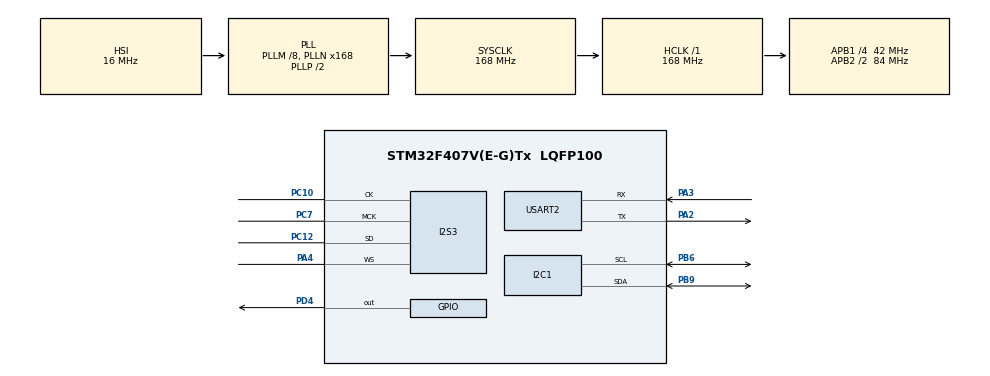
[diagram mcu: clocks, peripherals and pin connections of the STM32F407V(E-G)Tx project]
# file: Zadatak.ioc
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I2S3.AudioFreq=I2S_AUDIOFREQ_48K
I2S3.ErrorAudioFreq=-2.34 %
I2S3.FullDuplexMode=I2S_FULLDUPLEXMODE_DISABLE
I2S3.Instance=SPI$Index
I2S3.RealAudioFreq=46.875 KHz
I2S3.VirtualMode=I2S_MODE_MASTER
Mcu.Family=STM32F4
Mcu.Name=STM32F407V(E-G)Tx
Mcu.Package=LQFP100
NVIC.PriorityGroup=NVIC_PRIORITYGROUP_4
NVIC.USART2_IRQn=true\:0\:0\:false\:false\:true\:true\:true
PA2.Mode=Asynchronous
PA2.Signal=USART2_TX
PA3.Mode=Asynchronous
PA3.Signal=USART2_RX
PA4.Mode=Half_Duplex_Master
PA4.Signal=I2S3_WS
PB6.Mode=I2C
PB6.Signal=I2C1_SCL
PB9.Mode=I2C
PB9.Signal=I2C1_SDA
PC10.Mode=Half_Duplex_Master
PC10.Signal=I2S3_CK
PC12.Mode=Half_Duplex_Master
PC12.Signal=I2S3_SD
PC14-OSC32_IN.Mode=LSE-External-Oscillator
PC14-OSC32_IN.Signal=RCC_OSC32_IN
PC15-OSC32_OUT.Mode=LSE-External-Oscillator
PC15-OSC32_OUT.Signal=RCC_OSC32_OUT
PC7.Mode=Master_Clock_Activated
PC7.Signal=I2S3_MCK
PD4.GPIO_PuPd=GPIO_PULLDOWN
PD4.Signal=GPIO_Output
PH0-OSC_IN.Mode=HSE-External-Oscillator
PH0-OSC_IN.Signal=RCC_OSC_IN
PH1-OSC_OUT.Mode=HSE-External-Oscillator
PH1-OSC_OUT.Signal=RCC_OSC_OUT
ProjectManager.HeapSize=0x200
ProjectManager.StackSize=0x400
ProjectManager.TargetToolchain=STM32CubeIDE
RCC.48MHZClocksFreq_Value=84000000
RCC.AHBFreq_Value=168000000
RCC.APB1CLKDivider=RCC_HCLK_DIV4
RCC.APB1Freq_Value=42000000
RCC.APB1TimFreq_Value=84000000
RCC.APB2CLKDivider=RCC_HCLK_DIV2
RCC.APB2Freq_Value=84000000
RCC.APB2TimFreq_Value=168000000
RCC.CortexFreq_Value=168000000
RCC.HCLKFreq_Value=168000000
RCC.HSE_VALUE=8000000
RCC.HSI_VALUE=16000000
RCC.PLLM=8
RCC.PLLN=168
RCC.SYSCLKFreq_VALUE=168000000
RCC.SYSCLKSource=RCC_SYSCLKSOURCE_PLLCLK
RCC.VCOOutputFreq_Value=336000000
USART2.VirtualMode=VM_ASYNC
board=custom

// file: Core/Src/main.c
/* USER CODE BEGIN Header */
/**
  ******************************************************************************
  * @file           : main.c
  * @brief          : Main program body
  ******************************************************************************
  * @attention
  *
  * Copyright (c) 2021 STMicroelectronics.
  * All rights reserved.
  *
  * This software is licensed under terms that can be found in the LICENSE file
  * in the root directory of this software component.
  * If no LICENSE file comes with this software, it is provided AS-IS.
  *
  ******************************************************************************
  */
/* USER CODE END Header */
#include "main.h"
#include "i2c.h"
#include "i2s.h"
#include "usart.h"
#include "gpio.h"

/* USER CODE BEGIN Includes */
# include <stdlib.h>
# include "audio.h"
#include <time.h>
#include <string.h>
/* USER CODE END Includes */

/* USER CODE BEGIN PD */
#define TonC 364
#define TonCs 344
#define TonD 324
#define TonDs 306
#define TonE 289
#define TonF 273
#define TonFs 258
#define TonG 243
#define TonGs 230
#define TonA 217
#define TonAs 205
#define TonH 193

#define LOOPNUM 1000
/* USER CODE END PD */

/* USER CODE BEGIN PV */
char RX_BUFFER [ BUFSIZE ];
int RX_BUFFER_HEAD , RX_BUFFER_TAIL ;
uint8_t rx_data ;
const char *keys = "awsedftgzhuj";

uint16_t poljeC[TonC] = {1024, 1042, 1059, 1077, 1095, 1113, 1130, 1148, 1165, 1183, 1200, 1218, 1235, 1252, 1270, 1287, 1304, 1321, 1338, 1355, 1371, 1388, 1405, 1421, 1437, 1453, 1469, 1485, 1501, 1517, 1532, 1547, 1563, 1578, 1592, 1607, 1622, 1636, 1650, 1664, 1678, 1691, 1705, 1718, 1731, 1743, 1756, 1768, 1780, 1792, 1804, 1815, 1826, 1837, 1848, 1858, 1868, 1878, 1888, 1897, 1906, 1915, 1924, 1932, 1940, 1948, 1955, 1963, 1970, 1976, 1983, 1989, 1995, 2000, 2005, 2010, 2015, 2019, 2023, 2027, 2030, 2033, 2036, 2039, 2041, 2043, 2045, 2046, 2047, 2048, 2048, 2048, 2048, 2047, 2046, 2045, 2044, 2042, 2040, 2038, 2035, 2032, 2029, 2025, 2021, 2017, 2013, 2008, 2003, 1997, 1992, 1986, 1980, 1973, 1966, 1959, 1952, 1944, 1936, 1928, 1920, 1911, 1902, 1893, 1883, 1873, 1863, 1853, 1842, 1832, 1821, 1809, 1798, 1786, 1774, 1762, 1750, 1737, 1724, 1711, 1698, 1684, 1671, 1657, 1643, 1629, 1614, 1600, 1585, 1570, 1555, 1540, 1524, 1509, 1493, 1477, 1461, 1445, 1429, 1413, 1396, 1380, 1363, 1346, 1329, 1312, 1295, 1278, 1261, 1244, 1226, 1209, 1192, 1174, 1157, 1139, 1121, 1104, 1086, 1068, 1051, 1033, 1015, 997, 980, 962, 944, 927, 909, 891, 874, 856, 839, 822, 804, 787, 770, 753, 736, 719,702, 685, 668, 652, 635, 619, 603, 587, 571, 555, 539, 524, 508, 493, 478, 463, 448, 434, 419, 405, 391, 377, 364, 350, 337, 324, 311, 298, 286, 274, 262, 250, 239, 227, 216, 206, 195, 185, 175, 165, 155, 146, 137, 128, 120, 112, 104, 96, 89, 82, 75, 68, 62, 56, 51, 45, 40, 35, 31, 27, 23, 19, 16, 13, 10, 8, 6, 4, 3, 2, 1, 0, 0, 0, 0, 1, 2, 3, 5, 7, 9, 12, 15, 18, 21, 25, 29, 33, 38, 43, 48, 53, 59, 65, 72, 78, 85, 93, 100, 108, 116, 124, 133, 142, 151, 160, 170, 180, 190, 200, 211, 222, 233, 244, 256, 268, 280, 292, 305, 317, 330, 343, 357, 370, 384, 398, 412, 426, 441, 456, 470, 485, 501, 516, 531, 547, 563, 579, 595, 611, 627, 643, 660, 677, 693, 710, 727, 744, 761, 778, 796, 813, 830, 848, 865, 883, 900, 918, 935, 953, 971, 989, 1006, 1024};
uint16_t poljeCs[TonCs] = {1024, 1043, 1062, 1080, 1099, 1118, 1136, 1155, 1174, 1192, 1211, 1229, 1247, 1266, 1284, 1302, 1320, 1338, 1356, 1373, 1391, 1408, 1426, 1443, 1460, 1477, 1493, 1510, 1526, 1543, 1559, 1575, 1590, 1606, 1621, 1636, 1651, 1666, 1681, 1695, 1709, 1723, 1736, 1750, 1763, 1776, 1788, 1801, 1813, 1825, 1836, 1847, 1858, 1869, 1880, 1890, 1900, 1909, 1919, 1928, 1936, 1945, 1953, 1960, 1968, 1975, 1982, 1988, 1994, 2000, 2006, 2011, 2016, 2020, 2024, 2028, 2032, 2035, 2038, 2040, 2042, 2044, 2046, 2047, 2047, 2048, 2048, 2048, 2047, 2046, 2045, 2043, 2041, 2039, 2036, 2033, 2030, 2026, 2022, 2018, 2013, 2008, 2003, 1997, 1991, 1985, 1978, 1971, 1964, 1957, 1949, 1940, 1932, 1923, 1914, 1904, 1895, 1885, 1874, 1864, 1853, 1842, 1830, 1819, 1807, 1795, 1782, 1769, 1756, 1743, 1730, 1716, 1702, 1688, 1673, 1659, 1644, 1629, 1614, 1598, 1583, 1567, 1551, 1535, 1518, 1502, 1485, 1468, 1451, 1434, 1417, 1400, 1382, 1364, 1347, 1329, 1311, 1293, 1275, 1256, 1238, 1220, 1201, 1183, 1164, 1146, 1127, 1108, 1090, 1071, 1052, 1033, 1015, 996, 977, 958, 940, 921, 902, 884, 865, 847, 828, 810, 792, 773, 755, 737, 719, 701, 684, 666, 648, 631, 614, 597, 580, 563, 546, 530, 513, 497, 481, 465, 450, 434, 419, 404, 389, 375, 360, 346, 332, 318, 305, 292, 279, 266, 253, 241, 229, 218, 206, 195, 184, 174, 163, 153, 144, 134, 125, 116, 108, 99, 91, 84, 77, 70, 63, 57, 51, 45, 40, 35, 30, 26, 22, 18, 15, 12, 9, 7, 5, 3, 2, 1, 0, 0, 0, 1, 1,
		2, 4, 6, 8, 10, 13, 16, 20, 24, 28, 32, 37, 42, 48, 54, 60, 66, 73, 80, 88, 95, 103, 112, 120, 129, 139, 148, 158, 168, 179, 190, 201, 212, 223, 235, 247, 260,
		272, 285, 298, 312, 325, 339, 353, 367, 382, 397, 412, 427, 442, 458, 473, 489, 505, 522, 538, 555, 571, 588, 605, 622, 640, 657, 675, 692, 710, 728, 746, 764,
		782, 801, 819, 837, 856, 874, 893, 912, 930, 949, 968, 986, 1005, 1024};
uint16_t poljeD[TonD] = {1024, 1044, 1064, 1084, 1104, 1123, 1143, 1163, 1183, 1202, 1222, 1241, 1261, 1280, 1299, 1319, 1338, 1356, 1375, 1394, 1412, 1431, 1449, 1467, 1485, 1503, 1520, 1537, 1555, 1572, 1588, 1605, 1621, 1637, 1653, 1669, 1684, 1699, 1714, 1728, 1743, 1757, 1771, 1784, 1797, 1810, 1823, 1835, 1847, 1859, 1870, 1881, 1892, 1902, 1912, 1922, 1932, 1941, 1949, 1958, 1966, 1973, 1981, 1988, 1994, 2000, 2006, 2012, 2017, 2021, 2026, 2030, 2033, 2036, 2039, 2042, 2044, 2045, 2047, 2047, 2048, 2048, 2048, 2047, 2046, 2045, 2043, 2040, 2038, 2035, 2031, 2028, 2024, 2019, 2014, 2009, 2003, 1997, 1991, 1984, 1977, 1970, 1962, 1954, 1945, 1936, 1927, 1917, 1907, 1897, 1887, 1876, 1865, 1853, 1841, 1829, 1817, 1804, 1791, 1777, 1764, 1750, 1736, 1721, 1706, 1691, 1676, 1661, 1645, 1629, 1613, 1597, 1580, 1563, 1546, 1529, 1511, 1494, 1476, 1458, 1440, 1422, 1403, 1385, 1366, 1347, 1328, 1309, 1290, 1271, 1251, 1232, 1212, 1193, 1173, 1153, 1133, 1114, 1094, 1074, 1054, 1034, 1014, 994, 974, 954, 934, 915, 895, 875, 855, 836, 816, 797, 777, 758, 739, 720, 701, 682, 663, 645, 626, 608, 590, 572, 554, 537, 519, 502, 485, 468, 451, 435, 419, 403, 387, 372, 357, 342, 327, 312, 298, 284, 271, 257, 244, 231, 219, 207, 195, 183, 172, 161, 151, 141, 131, 121, 112, 103, 94, 86, 78, 71,
		64, 57, 51, 45, 39, 34, 29, 24, 20, 17, 13, 10, 8, 5, 3, 2, 1, 0, 0, 0, 1, 1, 3, 4, 6, 9, 12, 15, 18, 22, 27, 31, 36, 42, 48, 54, 60, 67, 75, 82, 90, 99, 107, 116, 126, 136, 146, 156, 167, 178, 189, 201, 213, 225, 238, 251, 264, 277, 291, 305, 320, 334, 349, 364, 379, 395, 411, 427, 443, 460, 476, 493, 511, 528, 545, 563, 581, 599, 617, 636, 654, 673, 692, 710, 729, 749, 768, 787, 807, 826, 846, 865, 885, 905, 925, 944, 964, 984, 1004, 1024};
uint16_t poljeDs[TonDs] = {1024, 1045, 1066, 1087, 1108, 1129, 1150, 1171, 1192, 1213, 1233, 1254, 1275, 1295, 1315, 1335, 1355, 1375, 1395, 1415, 1434, 1453, 1472, 1491, 1510, 1528, 1547, 1565, 1582, 1600, 1617, 1634, 1651, 1668, 1684, 1700, 1716, 1731, 1746, 1761, 1775, 1790, 1804, 1817, 1830, 1843, 1856, 1868, 1879, 1891, 1902, 1913, 1923, 1933, 1942, 1951, 1960, 1969, 1976, 1984, 1991, 1998, 2004, 2010, 2016, 2021, 2025, 2029, 2033, 2037, 2040, 2042, 2044, 2046, 2047, 2048, 2048, 2048, 2047, 2046, 2045, 2043, 2041, 2038, 2035, 2031, 2027, 2023, 2018, 2013, 2007, 2001, 1995, 1988, 1980, 1973, 1964, 1956, 1947, 1938, 1928, 1918, 1907, 1896, 1885, 1874, 1862, 1849, 1837, 1824, 1810, 1797, 1783, 1768, 1754, 1739, 1723, 1708, 1692, 1676, 1660, 1643, 1626, 1609, 1591, 1574, 1556, 1538, 1519, 1501, 1482, 1463, 1444, 1424, 1405, 1385, 1365, 1345, 1325, 1305, 1285, 1264, 1244, 1223, 1202, 1182, 1161, 1140, 1119, 1098, 1077, 1056, 1035, 1013, 992, 971, 950, 929, 908, 887, 866,
		846, 825, 804, 784, 763, 743, 723, 703, 683, 663, 643, 624, 604, 585, 566, 547, 529, 510, 492, 474, 457, 439, 422, 405, 388, 372, 356, 340, 325, 309, 294, 280,
		265, 251, 238, 224, 211, 199, 186, 174, 163, 152, 141, 130, 120, 110, 101, 92, 84, 75, 68, 60, 53, 47, 41, 35, 30, 25, 21, 17, 13, 10, 7, 5, 3, 2, 1, 0, 0, 0, 1, 2, 4, 6, 8, 11, 15, 19, 23, 27, 32, 38, 44, 50, 57, 64, 72, 79, 88, 97, 106, 115, 125, 135, 146, 157, 169, 180, 192, 205, 218, 231, 244, 258, 273, 287, 302, 317, 332, 348, 364, 380, 397, 414, 431, 448, 466, 483, 501, 520, 538, 557, 576, 595, 614, 633, 653, 673, 693, 713, 733, 753, 773, 794, 815, 835, 856, 877, 898, 919, 940, 961, 982, 1003, 1024};
uint16_t poljeE[TonE] = {1024, 1046, 1069, 1091, 1113, 1135, 1158, 1180, 1202, 1224, 1246, 1267, 1289, 1311, 1332, 1353, 1374, 1395, 1416, 1436, 1457, 1477, 1497, 1517, 1536, 1555, 1574, 1593, 1611, 1630, 1647, 1665, 1682, 1699, 1716, 1732, 1748, 1764, 1779, 1794, 1808, 1823, 1836, 1850, 1863, 1875, 1888, 1899, 1911, 1922, 1932, 1942, 1952, 1961, 1970, 1978, 1986, 1994, 2001, 2007, 2013, 2019, 2024, 2028, 2032, 2036, 2039, 2042, 2044, 2046, 2047, 2048, 2048, 2048, 2047, 2046, 2044, 2042, 2039, 2036, 2032, 2028, 2024, 2019, 2013, 2007, 2001, 1994, 1986, 1978, 1970, 1961, 1952, 1942, 1932, 1922, 1911, 1899, 1888, 1875, 1863, 1850, 1836, 1823, 1808, 1794, 1779, 1764, 1748, 1732, 1716, 1699, 1682, 1665, 1647, 1630, 1611, 1593, 1574, 1555, 1536, 1517, 1497, 1477, 1457, 1436, 1416, 1395, 1374, 1353, 1332, 1311, 1289, 1267, 1246, 1224, 1202, 1180, 1158, 1135, 1113, 1091, 1069, 1046, 1024, 1002, 979, 957, 935, 913, 890, 868, 846, 824, 802, 781, 759, 737, 716, 695, 674, 653, 632, 612, 591, 571, 551, 531, 512, 493, 474, 455, 437, 418, 401, 383, 366, 349, 332, 316, 300, 284, 269, 254, 240, 225, 212, 198, 185, 173, 160, 149, 137, 126, 116, 106, 96, 87, 78, 70, 62, 54, 47, 41, 35, 29, 24, 20, 16, 12, 9, 6, 4, 2, 1, 0, 0, 0, 1, 2, 4, 6, 9, 12, 16, 20, 24, 29, 35, 41, 47, 54, 62, 70, 78, 87, 96, 106, 116, 126, 137, 149, 160, 173, 185, 198, 212, 225, 240, 254, 269, 284, 300, 316, 332, 349, 366, 383, 401, 418, 437, 455, 474, 493, 512, 531, 551, 571, 591, 612, 632, 653, 674, 695, 716, 737, 759, 781, 802, 824, 846, 868, 890, 913, 935, 957, 979, 1002, 1024};
uint16_t poljeF[TonF] = {1024, 1048, 1071, 1095, 1118, 1142, 1165, 1189, 1212, 1235, 1258, 1281, 1304, 1327, 1349, 1372, 1394, 1416, 1438, 1459, 1480, 1501, 1522, 1543, 1563, 1583, 1603, 1622, 1641, 1660, 1678, 1696, 1714, 1731, 1748, 1765, 1781, 1796, 1812, 1827, 1841, 1855, 1869, 1882, 1895, 1907, 1919, 1930, 1941, 1951, 1961, 1970, 1979, 1987, 1995, 2002, 2009, 2015, 2021, 2026, 2031, 2035, 2038, 2041, 2044, 2046, 2047, 2048, 2048, 2048, 2047, 2046, 2044, 2041, 2038, 2035, 2031, 2026, 2021, 2015, 2009, 2002, 1995, 1987, 1979, 1970, 1961, 1951, 1941, 1930, 1919, 1907, 1895, 1882, 1869, 1855, 1841, 1827, 1812, 1796, 1781, 1765, 1748, 1731, 1714, 1696, 1678, 1660, 1641, 1622, 1603, 1583, 1563, 1543, 1522, 1501, 1480, 1459, 1438, 1416, 1394, 1372, 1349, 1327, 1304, 1281, 1258, 1235, 1212, 1189, 1165, 1142, 1118, 1095, 1071, 1048, 1024, 1000, 977, 953, 930, 906, 883, 859, 836, 813, 790, 767, 744, 721, 699, 676, 654, 632, 610, 589, 568, 547, 526, 505, 485, 465, 445, 426, 407, 388, 370, 352, 334, 317, 300, 283, 267, 252, 236, 221, 207, 193, 179, 166, 153, 141, 129, 118, 107, 97, 87, 78, 69, 61, 53, 46, 39, 33, 27, 22, 17, 13, 10,
		7, 4, 2, 1, 0, 0, 0, 1, 2, 4, 7, 10, 13, 17, 22, 27, 33, 39, 46, 53, 61, 69, 78, 87, 97, 107, 118, 129, 141, 153, 166, 179, 193, 207, 221, 236, 252, 267, 283, 300, 317, 334, 352, 370, 388, 407, 426, 445, 465, 485, 505, 526, 547, 568, 589, 610, 632, 654, 676, 699, 721, 744, 767, 790, 813, 836, 859, 883, 906, 930, 953, 977, 1000, 1024};
uint16_t poljeFs[TonFs] = {1024, 1049, 1074, 1099, 1124, 1149, 1174, 1198, 1223, 1248, 1272, 1296, 1320, 1344, 1368, 1391, 1414, 1437, 1460, 1483, 1505, 1527, 1549, 1570, 1591, 1612, 1632, 1652, 1671, 1691, 1709, 1728, 1746, 1763, 1780, 1797, 1813, 1829, 1844, 1859, 1873, 1887, 1900, 1913, 1925, 1937, 1948, 1958, 1968, 1978, 1986, 1995, 2002, 2010, 2016, 2022, 2027, 2032, 2036, 2040, 2042, 2045, 2046, 2048, 2048, 2048, 2047, 2046, 2044, 2041, 2038, 2034, 2030, 2025, 2019, 2013, 2006, 1999, 1991, 1982, 1973, 1963, 1953, 1942, 1931, 1919, 1907, 1894, 1880, 1866, 1852, 1837, 1821, 1805, 1789, 1772, 1755, 1737, 1719, 1700, 1681, 1662, 1642, 1622, 1601, 1580, 1559, 1538, 1516, 1494, 1472, 1449, 1426, 1403, 1379, 1356, 1332, 1308, 1284, 1260, 1235, 1211, 1186, 1161, 1136, 1112, 1087, 1062, 1037, 1011, 986, 961, 936, 912, 887, 862, 837, 813, 788, 764, 740, 716, 692, 669, 645, 622, 599, 576, 554, 532, 510, 489, 468, 447, 426, 406, 386, 367, 348, 329, 311, 293, 276, 259, 243, 227, 211, 196, 182, 168, 154, 141, 129, 117, 106, 95, 85, 75, 66, 57, 49, 42, 35, 29, 23, 18, 14, 10, 7, 4, 2, 1, 0, 0, 0, 2, 3, 6, 8, 12, 16, 21, 26, 32, 38, 46, 53, 62, 70, 80, 90, 100, 111, 123, 135, 148, 161, 175, 189, 204, 219, 235, 251, 268, 285, 302, 320, 339, 357, 377, 396, 416, 436, 457, 478, 499, 521, 543, 565, 588, 611, 634, 657, 680, 704, 728, 752, 776, 800, 825, 850, 874, 899, 924, 949, 974, 999, 1024};
uint16_t poljeG[TonG] = {1024, 1051, 1077, 1104, 1130, 1157, 1183, 1209, 1235, 1261, 1287, 1312, 1338, 1363, 1388, 1413, 1437, 1461, 1485, 1509, 1532, 1555, 1578, 1600, 1622, 1643, 1664, 1684, 1705, 1724, 1743, 1762, 1780, 1798, 1815, 1832, 1848, 1863, 1878, 1893, 1906, 1920, 1932, 1944, 1955, 1966, 1976, 1986, 1995, 2003, 2010, 2017, 2023, 2029, 2033, 2038, 2041, 2044, 2046, 2047, 2048, 2048, 2047, 2046, 2044, 2041, 2038, 2033, 2029, 2023, 2017, 2010, 2003, 1995, 1986, 1976, 1966, 1955, 1944, 1932, 1920, 1906, 1893, 1878, 1863, 1848, 1832, 1815, 1798, 1780, 1762, 1743, 1724, 1705, 1684, 1664, 1643, 1622, 1600, 1578, 1555, 1532, 1509, 1485, 1461, 1437, 1413, 1388, 1363, 1338, 1312, 1287, 1261, 1235, 1209, 1183, 1157, 1130, 1104, 1077, 1051, 1024, 997, 971, 944, 918, 891, 865, 839, 813, 787, 761, 736, 710, 685, 660, 635, 611, 587, 563, 539, 516, 493, 470, 448, 426, 405, 384, 364, 343, 324, 305, 286, 268, 250, 233, 216, 200, 185, 170, 155, 142, 128, 116, 104, 93, 82, 72,
		62, 53, 45, 38, 31, 25, 19, 15, 10, 7, 4, 2, 1, 0, 0, 1, 2, 4, 7, 10, 15, 19, 25, 31, 38, 45, 53, 62, 72, 82, 93, 104, 116, 128, 142, 155, 170, 185, 200, 216, 233, 250, 268, 286, 305, 324, 343, 364, 384, 405, 426, 448, 470, 493, 516, 539, 563, 587, 611, 635, 660, 685, 710, 736, 761, 787, 813, 839, 865, 891, 918, 944, 971, 997, 1024};
uint16_t poljeGs[TonGs] = {1024, 1053, 1081, 1110, 1138, 1167, 1195, 1223, 1251, 1279, 1306, 1334, 1361, 1388, 1414, 1440, 1466, 1492, 1517, 1542, 1567, 1591, 1614, 1637, 1660, 1682, 1704, 1725, 1746, 1766, 1785, 1804, 1822, 1840, 1857, 1873, 1889, 1904, 1918, 1931, 1944, 1957, 1968, 1979, 1989, 1998, 2006, 2014, 2021, 2027, 2032, 2037, 2041, 2044, 2046, 2047, 2048, 2048, 2047, 2045, 2042, 2039, 2035, 2030, 2024, 2018, 2010, 2002, 1993, 1984, 1973, 1962, 1951, 1938, 1925, 1911, 1896, 1881, 1865, 1848, 1831, 1813, 1794, 1775, 1756, 1735, 1714, 1693, 1671, 1649, 1626, 1603, 1579, 1554, 1530, 1505, 1479, 1454, 1427, 1401, 1374, 1347, 1320, 1292, 1265, 1237, 1209, 1181, 1152, 1124, 1095, 1067, 1038, 1010, 981, 953, 924, 896, 867, 839, 811, 783, 756, 728, 701, 674, 647, 621, 594, 569, 543, 518, 494, 469, 445, 422, 399,
		377, 355, 334, 313, 292, 273, 254, 235, 217, 200, 183, 167, 152, 137, 123, 110, 97, 86, 75, 64, 55, 46, 38, 30, 24, 18, 13, 9, 6, 3, 1, 0, 0, 1, 2, 4, 7, 11, 16, 21, 27, 34, 42, 50, 59, 69, 80, 91, 104, 117, 130, 144, 159, 175, 191, 208, 226, 244, 263, 282, 302, 323, 344, 366, 388, 411, 434, 457, 481, 506, 531, 556, 582, 608, 634, 660, 687, 714, 742, 769, 797, 825, 853, 881, 910, 938, 967, 995, 1024};
uint16_t poljeA[TonA] = {1024, 1054, 1084, 1113, 1143, 1172, 1202, 1231, 1260, 1289, 1318, 1346, 1374, 1402, 1430, 1457, 1484, 1510, 1536, 1562, 1587, 1611, 1635, 1659, 1682, 1705, 1727, 1748, 1769, 1789, 1808, 1827, 1845, 1863, 1880, 1896, 1911, 1925, 1939, 1952, 1964, 1976, 1986, 1996, 2005, 2013, 2020, 2027, 2032, 2037, 2041, 2044, 2046, 2048, 2048, 2048, 2046, 2044, 2041, 2037, 2032, 2027, 2020, 2013, 2005, 1996, 1986, 1976, 1964, 1952, 1939, 1925, 1911, 1896, 1880, 1863, 1845, 1827, 1808, 1789, 1769, 1748, 1727, 1705, 1682, 1659, 1635, 1611, 1587, 1562, 1536, 1510, 1484, 1457, 1430, 1402, 1374, 1346, 1318, 1289, 1260, 1231, 1202, 1172, 1143, 1113, 1084, 1054, 1024, 994, 964, 935, 905, 876, 846, 817, 788, 759, 730, 702, 674, 646, 618, 591, 564, 538, 512, 486, 461, 437, 413, 389, 366, 343, 321, 300, 279, 259,
		240, 221, 203, 185, 168, 152, 137, 123, 109, 96, 84, 72, 62, 52, 43, 35, 28, 21, 16, 11, 7, 4, 2, 0, 0, 0, 2, 4, 7, 11, 16, 21, 28, 35, 43, 52, 62, 72, 84, 96,
		109, 123, 137, 152, 168, 185, 203, 221, 240, 259, 279, 300, 321, 343, 366, 389, 413, 437, 461, 486, 512, 538, 564, 591, 618, 646, 674, 702, 730, 759, 788, 817,
		846, 876, 905, 935, 964, 994, 1024};
uint16_t poljeAs[TonAs] = {1024, 1056, 1087, 1118, 1150, 1181, 1212, 1243, 1274, 1304, 1334, 1364, 1394, 1423, 1452, 1480, 1508, 1536, 1563, 1590, 1616, 1641, 1666, 1690, 1714, 1737, 1759, 1781, 1802, 1822, 1841, 1860, 1878, 1895, 1911, 1926, 1941, 1954, 1967, 1979, 1990, 2000, 2009, 2017, 2024, 2031, 2036, 2040, 2044, 2046, 2048, 2048, 2048, 2046, 2044, 2040, 2036, 2031, 2024, 2017, 2009, 2000, 1990, 1979, 1967, 1954, 1941, 1926, 1911, 1895, 1878, 1860, 1841, 1822, 1802, 1781, 1759, 1737, 1714, 1690, 1666, 1641, 1616, 1590, 1563, 1536, 1508, 1480, 1452, 1423, 1394, 1364, 1334, 1304, 1274, 1243, 1212, 1181, 1150, 1118, 1087, 1056, 1024, 992, 961, 930, 898, 867, 836, 805, 774, 744, 714, 684, 654, 625, 596, 568, 540, 512, 485, 458, 432, 407, 382, 358, 334, 311, 289, 267, 246, 226, 207, 188, 170, 153, 137, 122, 107, 94, 81, 69, 58, 48, 39, 31, 24, 17, 12, 8, 4, 2, 0, 0, 0, 2, 4, 8, 12, 17, 24, 31, 39, 48, 58, 69, 81, 94, 107, 122, 137, 153, 170, 188, 207, 226, 246, 267, 289, 311, 334, 358, 382, 407, 432, 458, 485, 512, 540, 568, 596, 625, 654, 684, 714, 744, 774, 805, 836, 867, 898, 930, 961, 992, 1024};
uint16_t poljeH[TonH] = {1024, 1058, 1091, 1124, 1158, 1191, 1224, 1257, 1289, 1321, 1353, 1385, 1416, 1447, 1477, 1507, 1536, 1565, 1593, 1620, 1647, 1674, 1699, 1724, 1748, 1771, 1794, 1816, 1836, 1856, 1875, 1894, 1911, 1927, 1942, 1957, 1970, 1982, 1994, 2004, 2013, 2021, 2028, 2034, 2039, 2043, 2046, 2047, 2048, 2047, 2046, 2043, 2039, 2034, 2028, 2021, 2013, 2004, 1994, 1982, 1970, 1957, 1942, 1927, 1911, 1894, 1875, 1856, 1836, 1816, 1794, 1771, 1748, 1724, 1699, 1674, 1647, 1620, 1593, 1565, 1536, 1507, 1477, 1447, 1416, 1385, 1353, 1321, 1289, 1257, 1224, 1191, 1158, 1124, 1091, 1058, 1024, 990, 957, 924, 890, 857, 824, 791, 759, 727, 695, 663, 632, 601, 571, 541, 512, 483, 455, 428, 401, 374, 349, 324, 300, 277, 254, 232, 212, 192, 173, 154, 137, 121, 106, 91, 78, 66, 54, 44, 35, 27, 20, 14, 9, 5, 2, 1, 0, 1, 2, 5, 9, 14, 20, 27, 35, 44, 54, 66, 78, 91, 106, 121, 137, 154, 173, 192, 212, 232, 254, 277, 300, 324, 349, 374, 401, 428, 455, 483, 512, 541, 571, 601, 632, 663, 695, 727, 759, 791, 824, 857, 890, 924, 957, 990, 1024};

/* USER CODE END PV */

void SystemClock_Config(void);

/* USER CODE BEGIN 0 */
void playTon(){
	uint16_t signal;
	int lenPolje = TonA;

	int i = 0;

	while (1) {
		// Ton
		signal = poljeA[i] * 2;
		// Sum
		//signal = rand ();
		HAL_I2S_Transmit (&hi2s3 , &signal , 1, 10) ;
		i++;

		if (i == lenPolje){
			i = 0;
		}
	}
}

void playTune(char c){
	uint16_t signal ;

	int i = 0;
	int duration = 0;
	uint16_t *polje;
	int lenPolje;

	if (c == 'a') { lenPolje = TonC; polje = poljeC;}
	else if(c == 'w') { lenPolje = TonCs; polje = poljeCs; }
	else if(c == 's') { lenPolje = TonD; polje = poljeD; }
	else if(c == 'e') { lenPolje = TonDs; polje = poljeDs; }
	else if(c == 'd') { lenPolje = TonE; polje = poljeE; }
	else if(c == 'f') { lenPolje = TonF; polje = poljeF; }
	else if(c == 't') { lenPolje = TonFs; polje = poljeFs; }
	else if(c == 'g') { lenPolje = TonG; polje = poljeG; }
	else if(c == 'z') { lenPolje = TonGs; polje = poljeGs; }
	else if(c == 'h') { lenPolje = TonA; polje = poljeA; }
	else if(c == 'u') { lenPolje = TonAs; polje = poljeAs; }
	else if(c == 'j') { lenPolje = TonH; polje = poljeH; }

	while(duration < LOOPNUM){
		// Ton
		signal = polje[i] * 2;
		// Sum
		//signal = rand ();
		HAL_I2S_Transmit (&hi2s3 , &signal , 1, 10) ;
		i++;

		if (i == lenPolje){
			i = 0;
			duration++;
		}
	}
	signal = 0;
}
int checkString(char c){
	int num = 12;
	for(int i = 0; i < num; i++){
		if(c == keys[i]){
			return 1;
		}
	}
	return 0;
}

int main ( void ) {
	char c;

	HAL_Init();
	SystemClock_Config();
	MX_GPIO_Init();
	MX_I2C1_Init ();
	MX_I2S3_Init ();

	MX_USART2_UART_Init ();

	configAudio ();

	while (1) {

		USART2_Dequeue (&c);

		if ( c != 0) {
			USART2_SendChar (c);
		}

//		if (c == 'a'){
//			playTon();
//		}
		// awsedftghuj
		if (checkString(c)){
			playTune(c);
		}
	}
}

/* USER CODE END 0 */

void SystemClock_Config(void)
{
  RCC_OscInitTypeDef RCC_OscInitStruct = {0};
  RCC_ClkInitTypeDef RCC_ClkInitStruct = {0};

  /** Configure the main internal regulator output voltage
  */
  __HAL_RCC_PWR_CLK_ENABLE();
  __HAL_PWR_VOLTAGESCALING_CONFIG(PWR_REGULATOR_VOLTAGE_SCALE1);
  /** Initializes the RCC Oscillators according to the specified parameters
  * in the RCC_OscInitTypeDef structure.
  */
  RCC_OscInitStruct.OscillatorType = RCC_OSCILLATORTYPE_HSI;
  RCC_OscInitStruct.HSIState = RCC_HSI_ON;
  RCC_OscInitStruct.HSICalibrationValue = RCC_HSICALIBRATION_DEFAULT;
  RCC_OscInitStruct.PLL.PLLState = RCC_PLL_ON;
  RCC_OscInitStruct.PLL.PLLSource = RCC_PLLSOURCE_HSI;
  RCC_OscInitStruct.PLL.PLLM = 8;
  RCC_OscInitStruct.PLL.PLLN = 168;
  RCC_OscInitStruct.PLL.PLLP = RCC_PLLP_DIV2;
  RCC_OscInitStruct.PLL.PLLQ = 4;
  if (HAL_RCC_OscConfig(&RCC_OscInitStruct) != HAL_OK)
  {
    Error_Handler();
  }
  /** Initializes the CPU, AHB and APB buses clocks
  */
  RCC_ClkInitStruct.ClockType = RCC_CLOCKTYPE_HCLK|RCC_CLOCKTYPE_SYSCLK
                              |RCC_CLOCKTYPE_PCLK1|RCC_CLOCKTYPE_PCLK2;
  RCC_ClkInitStruct.SYSCLKSource = RCC_SYSCLKSOURCE_PLLCLK;
  RCC_ClkInitStruct.AHBCLKDivider = RCC_SYSCLK_DIV1;
  RCC_ClkInitStruct.APB1CLKDivider = RCC_HCLK_DIV4;
  RCC_ClkInitStruct.APB2CLKDivider = RCC_HCLK_DIV2;

  if (HAL_RCC_ClockConfig(&RCC_ClkInitStruct, FLASH_LATENCY_5) != HAL_OK)
  {
    Error_Handler();
  }
}

void Error_Handler(void)
{
  __disable_irq();
  while (1)
  {
  }
}
